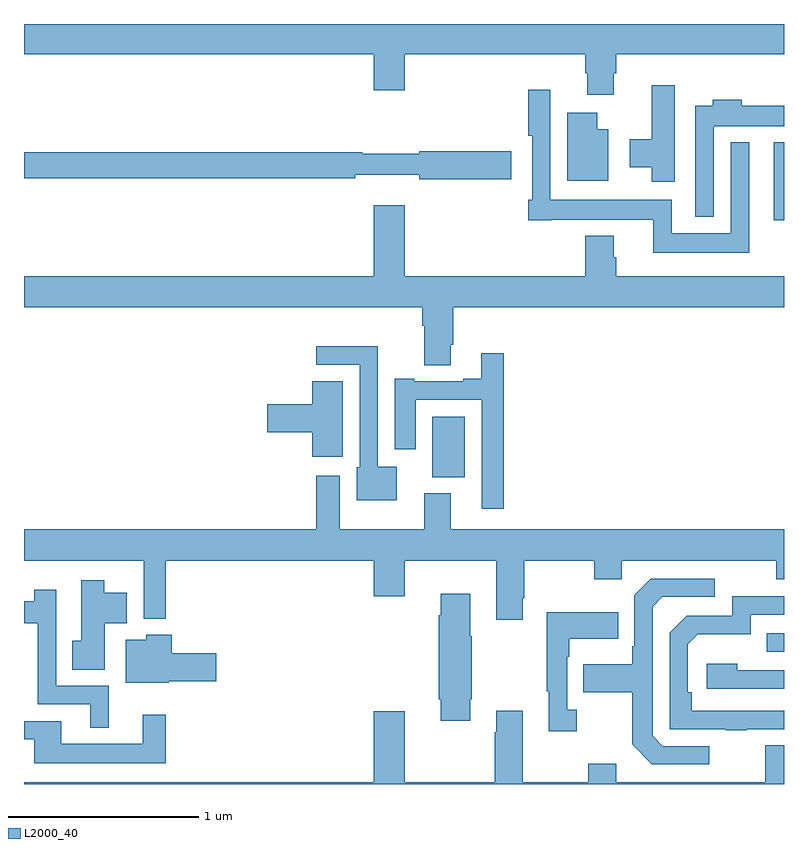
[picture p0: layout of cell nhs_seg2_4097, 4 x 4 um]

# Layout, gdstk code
import gdstk
lib = gdstk.Library(unit=1e-6, precision=1e-09)
def R(c, l, rs):  # rectangles x0, y0, x1, y1
    for r in rs: c.add(gdstk.rectangle(r[:2], r[2:], *l))
def P(c, l, *ps):  # polygons
    for p in ps: c.add(gdstk.Polygon(p, *l))
L2000_40 = (2000, 40)

nhs_seg2_4097 = lib.new_cell('nhs_seg2_4097')
R(nhs_seg2_4097, L2000_40, [(334.909,640.497,335,640.593), (333.149,641.414,333.319,641.734), (334.946,642.766,335,643.177)])
P(nhs_seg2_4097, L2000_40, [(334.105,643.542),(334.118,643.542),(334.118,643.64),(335,643.64),(335,643.8),(331,643.8),(331,643.64),(332.84,643.64),(332.84,643.452),(333.004,643.452),(333.004,643.64),(333.953,643.64),(333.953,643.542),(333.965,643.542),(333.965,643.428),(334.105,643.428)],
  [(334.426,643.477),(334.304,643.477),(334.304,643.194),(334.187,643.194),(334.187,643.046),(334.304,643.046),(334.304,642.969),(334.426,642.969)],
  [(334.816,643.177),(334.719,643.177),(334.719,642.7),(334.41,642.7),(334.41,642.874),(333.771,642.874),(333.771,643.453),(333.655,643.453),(333.655,643.213),(333.675,643.213),(333.675,642.874),(333.655,642.874),(333.655,642.768),(333.778,642.768),(333.778,642.77),(334.313,642.77),(334.313,642.596),(334.816,642.596)],
  [(334.629,643.262),(335,643.262),(335,643.369),(334.778,643.369),(334.778,643.402),(334.625,643.402),(334.625,643.369),(334.533,643.369),(334.533,642.785),(334.629,642.785)],
  [(334.075,643.246),(334.018,643.246),(334.018,643.333),(333.86,643.333),(333.86,642.974),(334.075,642.974)],
  [(333.565,643.13),(333.08,643.13),(333.08,643.117),(332.78,643.117),(332.78,643.124),(331,643.124),(331,642.988),(332.744,642.988),(332.744,643.007),(333.08,643.007),(333.08,642.983),(333.565,642.983)],
  [(333.247,642.112),(333.26,642.112),(333.26,642.308),(335,642.308),(335,642.472),(334.118,642.472),(334.118,642.573),(334.105,642.573),(334.105,642.685),(333.953,642.685),(333.953,642.472),(333.004,642.472),(333.004,642.847),(332.84,642.847),(332.84,642.472),(331,642.472),(331,642.308),(333.095,642.308),(333.095,642.212),(333.107,642.212),(333.107,642.004),(333.247,642.004)],
  [(332.962,641.47),(332.862,641.47),(332.862,642.104),(332.538,642.104),(332.538,642.006),(332.766,642.006),(332.766,641.466),(332.75,641.466),(332.75,641.294),(332.962,641.294)],
  [(333.524,642.067),(333.407,642.067),(333.407,641.932),(333.311,641.932),(333.311,641.919),(333.055,641.919),(333.055,641.932),(332.951,641.932),(332.951,641.562),(333.061,641.562),(333.061,641.823),(333.408,641.823),(333.408,641.25),(333.524,641.25)],
  [(332.677,641.921),(332.516,641.921),(332.516,641.798),(332.28,641.798),(332.28,641.651),(332.516,641.651),(332.516,641.523),(332.677,641.523)],
  [(333.625,640.777),(333.633,640.777),(333.633,640.976),(334,640.976),(334,640.877),(334.146,640.877),(334.146,640.976),(334.96,640.976),(334.96,640.877),(335,640.877),(335,641.14),(333.247,641.14),(333.247,641.329),(333.107,641.329),(333.107,641.14),(332.662,641.14),(332.662,641.422),(332.537,641.422),(332.537,641.14),(331,641.14),(331,640.976),(331.629,640.976),(331.629,640.67),(331.745,640.67),(331.745,640.976),(332.84,640.976),(332.84,640.788),(333.004,640.788),(333.004,640.976),(333.485,640.976),(333.485,640.665),(333.625,640.665)],
  [(334.606,639.999),(334.362,639.999),(334.308,640.053),(334.308,640.734),(334.359,640.785),(334.636,640.785),(334.636,640.881),(334.299,640.881),(334.212,640.794),(334.212,640.525),(334.2,640.525),(334.2,640.429),(333.943,640.429),(333.943,640.282),(334.2,640.282),(334.2,640.009),(334.305,639.903),(334.606,639.903)],
  [(331.426,640.646),(331.54,640.646),(331.54,640.807),(331.423,640.807),(331.423,640.873),(331.301,640.873),(331.301,640.554),(331.255,640.554),(331.255,640.402),(331.426,640.402)],
  [(331.447,640.317),(331.17,640.317),(331.17,640.822),(331.054,640.822),(331.054,640.763),(331,640.763),(331,640.645),(331.073,640.645),(331.073,640.221),(331.349,640.221),(331.349,640.097),(331.447,640.097)],
  [(333.349,640.246),(333.357,640.246),(333.357,640.577),(333.349,640.577),(333.349,640.801),(333.194,640.801),(333.194,640.688),(333.182,640.688),(333.182,640.246),(333.194,640.246),(333.194,640.134),(333.349,640.134)],
  [(334.805,640.089),(335,640.089),(335,640.185),(334.514,640.185),(334.514,640.282),(334.494,640.282),(334.494,640.536),(334.547,640.589),(334.824,640.589),(334.824,640.692),(335,640.692),(335,640.788),(334.728,640.788),(334.728,640.686),(334.488,640.686),(334.398,640.596),(334.398,640.089),(334.693,640.089),(334.693,640.084),(334.805,640.084)],
  [(333.91,640.19),(333.858,640.19),(333.858,640.469),(333.871,640.469),(333.871,640.565),(334.127,640.565),(334.127,640.705),(333.75,640.705),(333.75,640.289),(333.761,640.289),(333.761,640.077),(333.91,640.077)],
  [(331.761,640.34),(332.011,640.34),(332.011,640.487),(331.778,640.487),(331.778,640.585),(331.644,640.585),(331.644,640.558),(331.535,640.558),(331.535,640.334),(331.761,640.334)],
  [(335,640.398),(334.754,640.398),(334.754,640.432),(334.593,640.432),(334.593,640.302),(335,640.302)],
  [(335,640.003),(334.901,640.003),(334.901,639.808),(334.117,639.808),(334.117,639.907),(333.97,639.907),(333.97,639.808),(333.625,639.808),(333.625,640.186),(333.485,640.186),(333.485,640.073),(333.478,640.073),(333.478,639.808),(333.004,639.808),(333.004,640.183),(332.84,640.183),(332.84,639.808),(331,639.808),(331,639.8),(335,639.8)],
  [(331.747,640.165),(331.625,640.165),(331.625,640.012),(331.195,640.012),(331.195,640.131),(331,640.131),(331,640.035),(331.055,640.035),(331.055,639.908),(331.747,639.908)])

lib.write_gds('nhs_seg2_4097.gds')
